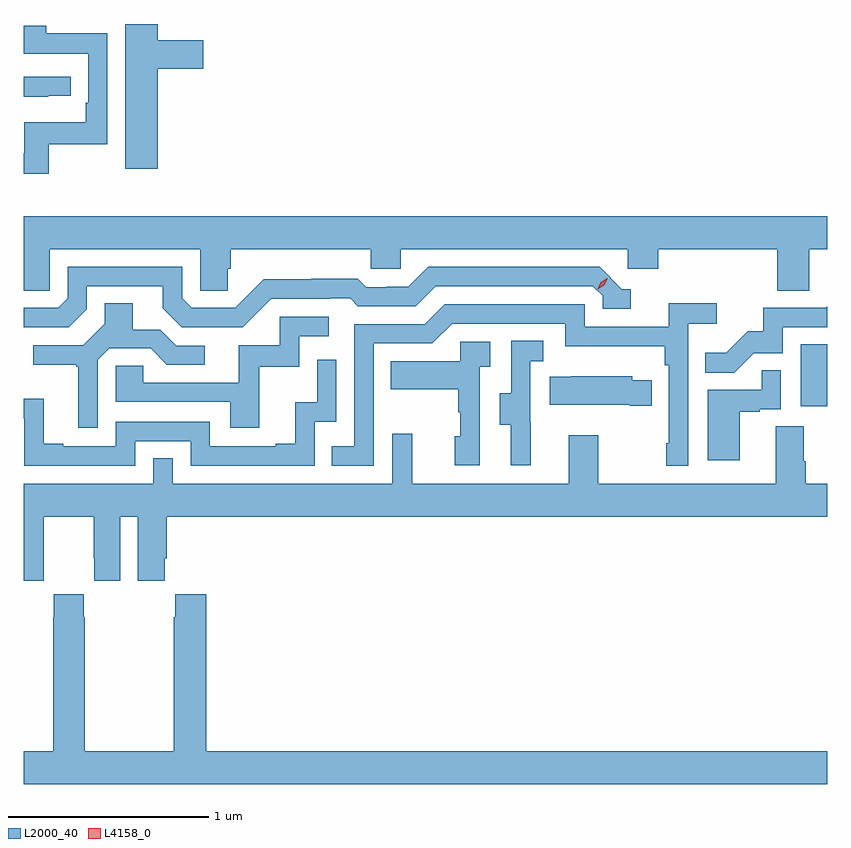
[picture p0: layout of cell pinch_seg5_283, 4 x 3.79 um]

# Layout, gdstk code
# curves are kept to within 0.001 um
import gdstk
lib = gdstk.Library(unit=1e-6, precision=1e-09)
def R(c, l, rs):  # rectangles x0, y0, x1, y1
    for r in rs: c.add(gdstk.rectangle(r[:2], r[2:], *l))
def P(c, l, *ps):  # polygons
    for p in ps: c.add(gdstk.Polygon(p, *l))
L2000_40 = (2000, 40)
L4158_0 = (4158, 0)

pinch_seg5_283 = lib.new_cell('pinch_seg5_283')
R(pinch_seg5_283, L2000_40, [(907.064,905.262,907.196,905.569)])
P(pinch_seg5_283, L2000_40, [(903.862,906.941),(904.09,906.941),(904.09,907.083),(903.862,907.083),(903.862,907.165),(903.701,907.165),(903.701,906.444),(903.862,906.444)],
  [(903.319,906.567),(903.612,906.567),(903.612,907.118),(903.307,907.118),(903.307,907.156),(903.196,907.156),(903.196,907.016),(903.203,907.016),(903.203,907.017),(903.516,907.017),(903.516,906.772),(903.503,906.772),(903.503,906.676),(903.198,906.676),(903.198,906.521),(903.196,906.521),(903.196,906.42),(903.319,906.42)],
  [(903.317,906.807),(903.43,906.807),(903.43,906.903),(903.196,906.903),(903.196,906.802),(903.317,906.802)],
  [(903.324,906.044),(904.074,906.044),(904.074,905.836),(904.211,905.836),(904.211,905.946),(904.226,905.946),(904.226,906.044),(904.923,906.044),(904.923,905.946),(905.073,905.946),(905.073,906.044),(906.204,906.044),(906.204,905.946),(906.356,905.946),(906.356,906.044),(906.947,906.044),(906.947,905.836),(907.107,905.836),(907.107,906.044),(907.196,906.044),(907.196,906.208),(903.196,906.208),(903.196,905.836),(903.324,905.836)],
  [(903.204,905.655),(903.42,905.655),(903.51,905.745),(903.51,905.859),(903.887,905.859),(903.887,905.749),(903.981,905.655),(904.287,905.655),(904.428,905.796),(904.721,905.796),(904.721,905.799),(904.82,905.799),(904.859,905.76),(905.148,905.76),(905.247,905.859),(906.03,905.859),(906.078,905.811),(906.078,905.748),(906.217,905.748),(906.217,905.844),(906.174,905.844),(906.063,905.955),(905.21,905.955),(905.111,905.856),(905.004,905.856),(905.004,905.853),(904.901,905.853),(904.859,905.896),(904.626,905.896),(904.626,905.893),(904.39,905.893),(904.248,905.751),(904.032,905.751),(903.984,905.799),(903.984,905.955),(903.414,905.955),(903.414,905.799),(903.366,905.751),(903.196,905.751),(903.196,905.654)],
  [(903.564,905.493),(903.621,905.55),(903.827,905.55),(903.908,905.469),(904.096,905.469),(904.096,905.562),(903.954,905.562),(903.874,905.642),(903.739,905.642),(903.739,905.774),(903.599,905.774),(903.599,905.672),(903.492,905.565),(903.243,905.565),(903.243,905.468),(903.456,905.468),(903.456,905.457),(903.467,905.457),(903.467,905.154),(903.564,905.154)],
  [(904.938,905.574),(905.229,905.574),(905.328,905.673),(905.892,905.673),(905.892,905.561),(906.388,905.561),(906.388,905.465),(906.408,905.465),(906.408,905.077),(906.396,905.077),(906.396,904.965),(906.504,904.965),(906.504,905.672),(906.646,905.672),(906.646,905.774),(906.407,905.774),(906.407,905.658),(905.988,905.658),(905.988,905.769),(905.291,905.769),(905.192,905.67),(904.842,905.67),(904.842,905.061),(904.729,905.061),(904.729,904.965),(904.938,904.965)],
  [(906.831,905.526),(906.975,905.526),(906.975,905.655),(907.196,905.655),(907.196,905.756),(907.195,905.751),(906.877,905.751),(906.877,905.634),(906.8,905.634),(906.693,905.527),(906.589,905.527),(906.589,905.428),(906.733,905.428)],
  [(904.367,905.457),(904.566,905.457),(904.566,905.61),(904.714,905.61),(904.714,905.706),(904.47,905.706),(904.47,905.565),(904.265,905.565),(904.265,905.379),(903.791,905.379),(903.791,905.463),(903.654,905.463),(903.654,905.283),(904.223,905.283),(904.223,905.154),(904.367,905.154)],
  [(905.72,905.181),(905.718,905.181),(905.718,905.485),(905.782,905.485),(905.782,905.588),(905.622,905.588),(905.622,905.325),(905.567,905.325),(905.567,905.17),(905.621,905.17),(905.621,904.968),(905.72,904.968)],
  [(905.466,905.459),(905.518,905.459),(905.518,905.583),(905.37,905.583),(905.37,905.485),(905.023,905.485),(905.023,905.345),(905.358,905.345),(905.358,905.231),(905.368,905.231),(905.368,905.112),(905.342,905.112),(905.342,904.968),(905.466,904.968)],
  [(903.75,905.088),(904.026,905.088),(904.026,904.965),(904.644,904.965),(904.644,905.184),(904.752,905.184),(904.752,905.494),(904.656,905.494),(904.656,905.282),(904.547,905.282),(904.547,905.074),(904.451,905.074),(904.451,905.061),(904.122,905.061),(904.122,905.184),(903.654,905.184),(903.654,905.061),(903.391,905.061),(903.391,905.074),(903.295,905.074),(903.295,905.299),(903.196,905.299),(903.196,905.201),(903.198,905.201),(903.198,904.965),(903.75,904.965)],
  [(906.76,905.235),(906.86,905.235),(906.86,905.247),(906.966,905.247),(906.966,905.441),(906.871,905.441),(906.871,905.343),(906.602,905.343),(906.602,904.992),(906.76,904.992)],
  [(906.323,905.392),(906.225,905.392),(906.225,905.41),(905.923,905.41),(905.923,905.407),(905.815,905.407),(905.815,905.27),(906.212,905.27),(906.212,905.263),(906.323,905.263)],
  [(903.294,904.504),(903.295,904.504),(903.295,904.712),(903.545,904.712),(903.545,904.504),(903.546,904.504),(903.546,904.392),(903.676,904.392),(903.676,904.712),(903.764,904.712),(903.764,904.392),(903.898,904.392),(903.898,904.504),(903.908,904.504),(903.908,904.712),(907.196,904.712),(907.196,904.876),(907.089,904.876),(907.089,904.988),(907.081,904.988),(907.081,905.162),(906.941,905.162),(906.941,904.876),(906.057,904.876),(906.057,905.116),(905.909,905.116),(905.909,904.876),(905.129,904.876),(905.129,905.125),(905.031,905.125),(905.031,904.876),(903.936,904.876),(903.936,905.003),(903.84,905.003),(903.84,904.876),(903.196,904.876),(903.196,904.392),(903.294,904.392)],
  [(907.196,903.544),(904.103,903.544),(904.103,904.324),(903.949,904.324),(903.949,904.211),(903.943,904.211),(903.943,903.544),(903.498,903.544),(903.498,904.211),(903.495,904.211),(903.495,904.324),(903.345,904.324),(903.345,904.211),(903.343,904.211),(903.343,903.544),(903.196,903.544),(903.196,903.38),(907.196,903.38)])
P(pinch_seg5_283, L4158_0, [(906.054,905.845),(906.054,905.845),(906.07,905.878),(906.1,905.898),(906.1,905.898),(906.1,905.897),(906.085,905.865),(906.055,905.845)])

lib.write_gds('pinch_seg5_283.gds')
